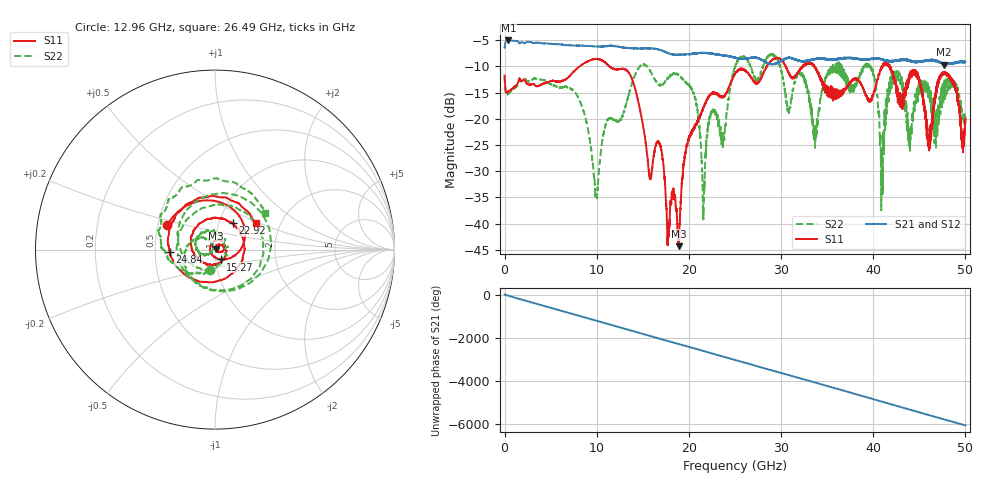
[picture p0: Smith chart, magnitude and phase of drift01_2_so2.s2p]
!Created with skrf (http://scikit-rf.org).
# Hz S RI R 50.0
!freq ReS11 ImS11 ReS21 ImS21 ReS12 ImS12 ReS22 ImS22
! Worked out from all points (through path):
!   10001 points, 300 kHz to 50 GHz, reference 50 ohm
!   highest |S21| = -5.05 dB at 410.3 MHz (marker M1); lowest = -9.7 dB at 47.67 GHz (marker M2)
!   group delay of S21, straight-line fit = 336 ps
!   lowest |S11| = -44.3 dB at 18.92 GHz (marker M3), VSWR 1.01, Z = 50.3 + j0.521 ohm
!   |S11| at or under -10 dB: start of sweep to 8.136 GHz; 11.39 GHz to 28.44 GHz (17.05 GHz wide, 85.6 % of centre); 41.79 GHz to end of sweep (the widest 3 of 16)
!   |S22| runs from -39.2 to -7.6 dB; largest |S21 - S12| = 0.013
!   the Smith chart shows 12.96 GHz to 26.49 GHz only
!   S11 on the Smith chart (normalised r, x): 12.96 GHz: 0.56, +0.17; 15.27 GHz: 1.06, -0.12; 22.92 GHz: 1.16, +0.35; 24.84 GHz: 0.60, -0.02; 26.49 GHz: 1.50, +0.47
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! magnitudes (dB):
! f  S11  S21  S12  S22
! 300 kHz  -11.8  -6.4  -6.5  -11.8
! 410.3 MHz  -14.8  -5.1  -5.1  -15.2
! 8.335 GHz  -9.7  -6.0  -6.0  -17.4
! 9.94 GHz  -8.6  -6.2  -6.2  -34.9
! 12.96 GHz  -10.5  -6.4  -6.4  -18.6
! 15.27 GHz  -24.0  -6.6  -6.6  -9.8
! 16.67 GHz  -24.3  -6.8  -6.8  -13.4
! 17.71 GHz  -43.1  -7.4  -7.5  -12.3
! 18.92 GHz  -44.3  -7.8  -7.8  -11.7
! 20.7 GHz  -21.2  -7.5  -7.5  -16.2
! 21.56 GHz  -17.9  -7.5  -7.4  -38.7
! 22.92 GHz  -15.1  -7.7  -7.7  -18.8
! 24.84 GHz  -11.9  -8.3  -8.3  -11.3
! 25 GHz  -11.4  -8.3  -8.4  -10.2
! 26.49 GHz  -11.4  -8.5  -8.5  -9.2
! 33.34 GHz  -9.5  -8.8  -8.7  -20.0
! 39.5 GHz  -16.6  -8.6  -8.6  -10.0
! 40.94 GHz  -10.0  -8.6  -8.7  -27.8
! 41.67 GHz  -9.9  -8.9  -9.0  -15.1
! 46.06 GHz  -24.9  -8.8  -8.8  -14.3
! 47.67 GHz  -11.2  -9.7  -9.6  -14.8
! 50 GHz  -20.6  -9.2  -9.3  -20.2
